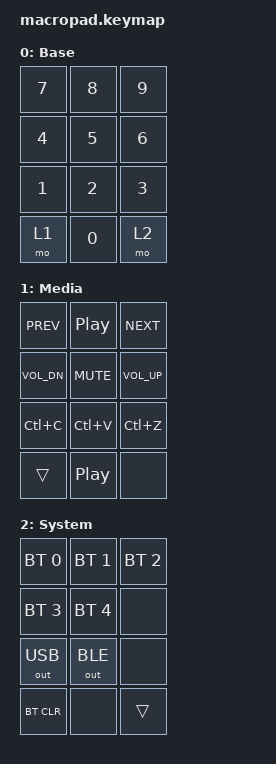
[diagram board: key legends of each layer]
#include <behaviors.dtsi>
#include <dt-bindings/zmk/keys.h>
#include <dt-bindings/zmk/bt.h>
#include <dt-bindings/zmk/outputs.h>

/ {
	combos {
		compatible = "zmk,combos";

		combo_studio_unlock {
			timeout-ms = <50>;
			key-positions = <9 11>;  // bottom-left + bottom-right thumb keys
			bindings = <&studio_unlock>;
		};
	};

	keymap {
		compatible = "zmk,keymap";

		// Layer 0: base — number pad-ish fun layer
		// Bottom-left key held = media layer, bottom-right held = system layer
		default_layer {
			display-name = "Base";
			bindings = <
				&kp N7   &kp N8   &kp N9
				&kp N4   &kp N5   &kp N6
				&kp N1   &kp N2   &kp N3
				&mo 1    &kp N0   &mo 2
			>;
		};

		// Layer 1: media & shortcuts
		media_layer {
			display-name = "Media";
			bindings = <
				&kp C_PREV   &kp C_PP     &kp C_NEXT
				&kp C_VOL_DN &kp C_MUTE   &kp C_VOL_UP
				&kp LC(C)    &kp LC(V)    &kp LC(Z)
				&trans       &kp C_PP     &none
			>;
		};

		// Layer 2: system — Bluetooth profiles, output switching
		system_layer {
			display-name = "System";
			bindings = <
				&bt BT_SEL 0  &bt BT_SEL 1  &bt BT_SEL 2
				&bt BT_SEL 3  &bt BT_SEL 4  &none
				&out OUT_USB  &out OUT_BLE  &none
				&bt BT_CLR    &none         &trans
			>;
		};
	};
};
